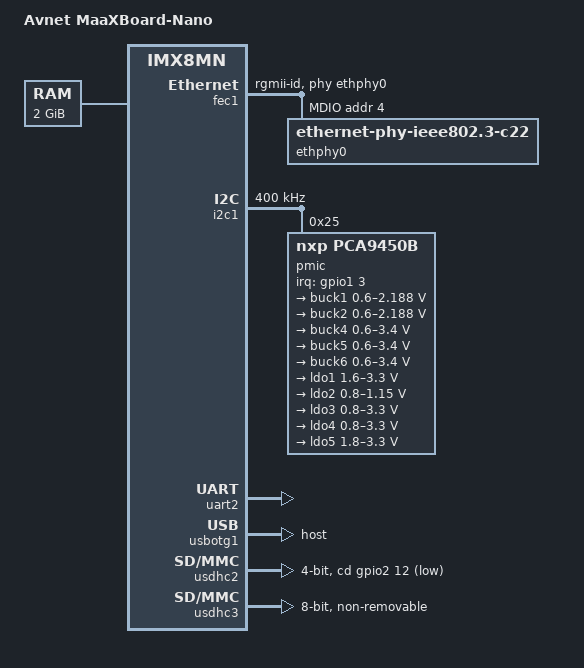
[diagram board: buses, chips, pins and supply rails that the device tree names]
/*
 * Copyright 2023 AVNET
 *
 * This program is free software; you can redistribute it and/or
 * modify it under the terms of the GNU General Public License
 * as published by the Free Software Foundation; either version 2
 * of the License, or (at your option) any later version.
 *
 * This program is distributed in the hope that it will be useful,
 * but WITHOUT ANY WARRANTY; without even the implied warranty of
 * MERCHANTABILITY or FITNESS FOR A PARTICULAR PURPOSE.  See the
 * GNU General Public License for more details.
 */

/dts-v1/;

#include <dt-bindings/usb/pd.h>
#include "imx8mn.dtsi"

/ {
	model = "Avnet MaaXBoard-Nano";
	compatible = "avnet,maaxboard-nano", "fsl,imx8mn";

	chosen {
		bootargs = "console=ttymxc1,115200";
		stdout-path = &uart2;
	};

	memory@40000000 {
		device_type = "memory";
		reg = <0x0 0x40000000 0 0x80000000>;
	};
};

&A53_0 {
	cpu-supply = <&buck2>;
};

&A53_1 {
	cpu-supply = <&buck2>;
};

&A53_2 {
	cpu-supply = <&buck2>;
};

&A53_3 {
	cpu-supply = <&buck2>;
};


&fec1 {
	pinctrl-names = "default";
	pinctrl-0 = <&pinctrl_fec1>;
	phy-mode = "rgmii-id";
	phy-handle = <&ethphy0>;
	fsl,magic-packet;
	status = "okay";

	mdio {
		#address-cells = <1>;
		#size-cells = <0>;

		ethphy0: ethernet-phy@4 {
			compatible = "ethernet-phy-ieee802.3-c22";
			reg = <4>;
		};
	};
};

&i2c1 {
	clock-frequency = <400000>;
	pinctrl-names = "default";
	pinctrl-0 = <&pinctrl_i2c1>;
	status = "okay";

	pmic: pca9450@25 {
		compatible = "nxp,pca9450b";
		reg = <0x25>;
		pinctrl-names = "default";
		pinctrl-0 = <&pinctrl_pmic>;
		interrupt-parent = <&gpio1>;
		interrupts = <3 IRQ_TYPE_LEVEL_LOW>;

		regulators {
			buck1: BUCK1{
				regulator-name = "BUCK1";
				regulator-min-microvolt = <600000>;
				regulator-max-microvolt = <2187500>;
				regulator-boot-on;
				regulator-always-on;
				regulator-ramp-delay = <3125>;
			};

			buck2: BUCK2 {
				regulator-name = "BUCK2";
				regulator-min-microvolt = <600000>;
				regulator-max-microvolt = <2187500>;
				regulator-boot-on;
				regulator-always-on;
				regulator-ramp-delay = <3125>;
				nxp,dvs-run-voltage = <950000>;
				nxp,dvs-standby-voltage = <850000>;
			};

			buck4: BUCK4{
				regulator-name = "BUCK4";
				regulator-min-microvolt = <600000>;
				regulator-max-microvolt = <3400000>;
				regulator-boot-on;
				regulator-always-on;
			};

			buck5: BUCK5{
				regulator-name = "BUCK5";
				regulator-min-microvolt = <600000>;
				regulator-max-microvolt = <3400000>;
				regulator-boot-on;
				regulator-always-on;
			};

			buck6: BUCK6 {
				regulator-name = "BUCK6";
				regulator-min-microvolt = <600000>;
				regulator-max-microvolt = <3400000>;
				regulator-boot-on;
				regulator-always-on;
			};

			ldo1: LDO1 {
				regulator-name = "LDO1";
				regulator-min-microvolt = <1600000>;
				regulator-max-microvolt = <3300000>;
				regulator-boot-on;
				regulator-always-on;
			};

			ldo2: LDO2 {
				regulator-name = "LDO2";
				regulator-min-microvolt = <800000>;
				regulator-max-microvolt = <1150000>;
				regulator-boot-on;
				regulator-always-on;
			};

			ldo3: LDO3 {
				regulator-name = "LDO3";
				regulator-min-microvolt = <800000>;
				regulator-max-microvolt = <3300000>;
				regulator-boot-on;
				regulator-always-on;
			};

			ldo4: LDO4 {
				regulator-name = "LDO4";
				regulator-min-microvolt = <800000>;
				regulator-max-microvolt = <3300000>;
				regulator-boot-on;
				regulator-always-on;
			};

			ldo5: LDO5 {
				regulator-name = "LDO5";
				regulator-min-microvolt = <1800000>;
				regulator-max-microvolt = <3300000>;
				regulator-boot-on;
				regulator-always-on;
			};
		};
	};
};

&uart2 { /* console */
	pinctrl-names = "default";
	pinctrl-0 = <&pinctrl_uart2>;
	status = "okay";
};

&usbotg1 {
	dr_mode = "host";
	hnp-disable;
	srp-disable;
	adp-disable;
	usb-role-switch;
	disable-over-current;
	samsung,picophy-pre-emp-curr-control = <3>;
	samsung,picophy-dc-vol-level-adjust = <7>;
	status = "okay";
};

&usdhc2 { /* SD Card */
	assigned-clocks = <&clk IMX8MN_CLK_USDHC2>;
	assigned-clock-rates = <200000000>;
	pinctrl-names = "default", "state_100mhz", "state_200mhz";
	pinctrl-0 = <&pinctrl_usdhc2>, <&pinctrl_usdhc2_gpio>;
	pinctrl-1 = <&pinctrl_usdhc2_100mhz>, <&pinctrl_usdhc2_gpio>;
	pinctrl-2 = <&pinctrl_usdhc2_200mhz>, <&pinctrl_usdhc2_gpio>;
	cd-gpios = <&gpio2 12 GPIO_ACTIVE_LOW>;
	bus-width = <4>;
	no-1-8-v;
	status = "okay";
};

&usdhc3 { /* EMMC  */
	assigned-clocks = <&clk IMX8MN_CLK_USDHC3_ROOT>;
	assigned-clock-rates = <400000000>;
	pinctrl-names = "default", "state_100mhz", "state_200mhz";
	pinctrl-0 = <&pinctrl_usdhc3>;
	pinctrl-1 = <&pinctrl_usdhc3_100mhz>;
	pinctrl-2 = <&pinctrl_usdhc3_200mhz>;
	bus-width = <8>;
	non-removable;
	status = "okay";
};

&iomuxc {
	pinctrl_fec1: fec1grp {
		fsl,pins = <
			MX8MN_IOMUXC_ENET_MDC_ENET1_MDC		0x3
			MX8MN_IOMUXC_ENET_MDIO_ENET1_MDIO	0x3
			MX8MN_IOMUXC_ENET_TD3_ENET1_RGMII_TD3	0x1f
			MX8MN_IOMUXC_ENET_TD2_ENET1_RGMII_TD2	0x1f
			MX8MN_IOMUXC_ENET_TD1_ENET1_RGMII_TD1	0x1f
			MX8MN_IOMUXC_ENET_TD0_ENET1_RGMII_TD0	0x1f
			MX8MN_IOMUXC_ENET_RD3_ENET1_RGMII_RD3	0x91
			MX8MN_IOMUXC_ENET_RD2_ENET1_RGMII_RD2	0x91
			MX8MN_IOMUXC_ENET_RD1_ENET1_RGMII_RD1	0x91
			MX8MN_IOMUXC_ENET_RD0_ENET1_RGMII_RD0	0x91
			MX8MN_IOMUXC_ENET_TXC_ENET1_RGMII_TXC	0x1f
			MX8MN_IOMUXC_ENET_RXC_ENET1_RGMII_RXC	0x91
			MX8MN_IOMUXC_ENET_RX_CTL_ENET1_RGMII_RX_CTL 0x91
			MX8MN_IOMUXC_ENET_TX_CTL_ENET1_RGMII_TX_CTL 0x1f
			MX8MN_IOMUXC_SAI2_RXC_GPIO4_IO22	0x19
		>;
	};

	pinctrl_i2c1: i2c1grp {
		fsl,pins = <
			MX8MN_IOMUXC_I2C1_SCL_I2C1_SCL		0x400001c3
			MX8MN_IOMUXC_I2C1_SDA_I2C1_SDA		0x400001c3
		>;
	};

	pinctrl_uart2: uart2grp {
		fsl,pins = <
			MX8MN_IOMUXC_UART2_RXD_UART2_DCE_RX 0x140
			MX8MN_IOMUXC_UART2_TXD_UART2_DCE_TX 0x140
		>;
	};

	pinctrl_pmic: pmicirqgrp {
		fsl,pins = <
			MX8MN_IOMUXC_GPIO1_IO03_GPIO1_IO3	0x141
		>;
	};

	pinctrl_usdhc2_gpio: usdhc2gpiogrp {
		fsl,pins = <
			MX8MN_IOMUXC_SD2_CD_B_GPIO2_IO12	0x1c4
		>;
	};

	pinctrl_usdhc2: usdhc2grp {
		fsl,pins = <
			MX8MN_IOMUXC_SD2_CLK_USDHC2_CLK		0x190
			MX8MN_IOMUXC_SD2_CMD_USDHC2_CMD		0x1d0
			MX8MN_IOMUXC_SD2_DATA0_USDHC2_DATA0 0x1d0
			MX8MN_IOMUXC_SD2_DATA1_USDHC2_DATA1 0x1d0
			MX8MN_IOMUXC_SD2_DATA2_USDHC2_DATA2 0x1d0
			MX8MN_IOMUXC_SD2_DATA3_USDHC2_DATA3 0x1d0
			MX8MN_IOMUXC_GPIO1_IO04_USDHC2_VSELECT	0x1d0
		>;
	};

	pinctrl_usdhc2_100mhz: usdhc2-100mhzgrp {
		fsl,pins = <
			MX8MN_IOMUXC_SD2_CLK_USDHC2_CLK		0x194
			MX8MN_IOMUXC_SD2_CMD_USDHC2_CMD		0x1d4
			MX8MN_IOMUXC_SD2_DATA0_USDHC2_DATA0 0x1d4
			MX8MN_IOMUXC_SD2_DATA1_USDHC2_DATA1 0x1d4
			MX8MN_IOMUXC_SD2_DATA2_USDHC2_DATA2 0x1d4
			MX8MN_IOMUXC_SD2_DATA3_USDHC2_DATA3 0x1d4
			MX8MN_IOMUXC_GPIO1_IO04_USDHC2_VSELECT	0x1d0
		>;
	};

	pinctrl_usdhc2_200mhz: usdhc2-200mhzgrp {
		fsl,pins = <
			MX8MN_IOMUXC_SD2_CLK_USDHC2_CLK		0x196
			MX8MN_IOMUXC_SD2_CMD_USDHC2_CMD		0x1d6
			MX8MN_IOMUXC_SD2_DATA0_USDHC2_DATA0 0x1d6
			MX8MN_IOMUXC_SD2_DATA1_USDHC2_DATA1 0x1d6
			MX8MN_IOMUXC_SD2_DATA2_USDHC2_DATA2 0x1d6
			MX8MN_IOMUXC_SD2_DATA3_USDHC2_DATA3 0x1d6
			MX8MN_IOMUXC_GPIO1_IO04_USDHC2_VSELECT	0x1d0
		>;
	};

	pinctrl_usdhc3: usdhc3grp {
		fsl,pins = <
			MX8MN_IOMUXC_NAND_WE_B_USDHC3_CLK		0x40000190
			MX8MN_IOMUXC_NAND_WP_B_USDHC3_CMD		0x1d0
			MX8MN_IOMUXC_NAND_DATA04_USDHC3_DATA0		0x1d0
			MX8MN_IOMUXC_NAND_DATA05_USDHC3_DATA1		0x1d0
			MX8MN_IOMUXC_NAND_DATA06_USDHC3_DATA2		0x1d0
			MX8MN_IOMUXC_NAND_DATA07_USDHC3_DATA3		0x1d0
			MX8MN_IOMUXC_NAND_RE_B_USDHC3_DATA4		0x1d0
			MX8MN_IOMUXC_NAND_CE2_B_USDHC3_DATA5		0x1d0
			MX8MN_IOMUXC_NAND_CE3_B_USDHC3_DATA6		0x1d0
			MX8MN_IOMUXC_NAND_CLE_USDHC3_DATA7		0x1d0
			MX8MN_IOMUXC_NAND_CE1_B_USDHC3_STROBE		0x190
		>;
	};

	pinctrl_usdhc3_100mhz: usdhc3-100mhzgrp {
		fsl,pins = <
			MX8MN_IOMUXC_NAND_WE_B_USDHC3_CLK		0x40000194
			MX8MN_IOMUXC_NAND_WP_B_USDHC3_CMD		0x1d4
			MX8MN_IOMUXC_NAND_DATA04_USDHC3_DATA0		0x1d4
			MX8MN_IOMUXC_NAND_DATA05_USDHC3_DATA1		0x1d4
			MX8MN_IOMUXC_NAND_DATA06_USDHC3_DATA2		0x1d4
			MX8MN_IOMUXC_NAND_DATA07_USDHC3_DATA3		0x1d4
			MX8MN_IOMUXC_NAND_RE_B_USDHC3_DATA4		0x1d4
			MX8MN_IOMUXC_NAND_CE2_B_USDHC3_DATA5		0x1d4
			MX8MN_IOMUXC_NAND_CE3_B_USDHC3_DATA6		0x1d4
			MX8MN_IOMUXC_NAND_CLE_USDHC3_DATA7		0x1d4
			MX8MN_IOMUXC_NAND_CE1_B_USDHC3_STROBE		0x194
		>;
	};

	pinctrl_usdhc3_200mhz: usdhc3-200mhzgrp {
		fsl,pins = <
			MX8MN_IOMUXC_NAND_WE_B_USDHC3_CLK		0x40000196
			MX8MN_IOMUXC_NAND_WP_B_USDHC3_CMD		0x1d6
			MX8MN_IOMUXC_NAND_DATA04_USDHC3_DATA0		0x1d6
			MX8MN_IOMUXC_NAND_DATA05_USDHC3_DATA1		0x1d6
			MX8MN_IOMUXC_NAND_DATA06_USDHC3_DATA2		0x1d6
			MX8MN_IOMUXC_NAND_DATA07_USDHC3_DATA3		0x1d6
			MX8MN_IOMUXC_NAND_RE_B_USDHC3_DATA4		0x1d6
			MX8MN_IOMUXC_NAND_CE2_B_USDHC3_DATA5		0x1d6
			MX8MN_IOMUXC_NAND_CE3_B_USDHC3_DATA6		0x1d6
			MX8MN_IOMUXC_NAND_CLE_USDHC3_DATA7		0x1d6
			MX8MN_IOMUXC_NAND_CE1_B_USDHC3_STROBE		0x196
		>;
	};
};
